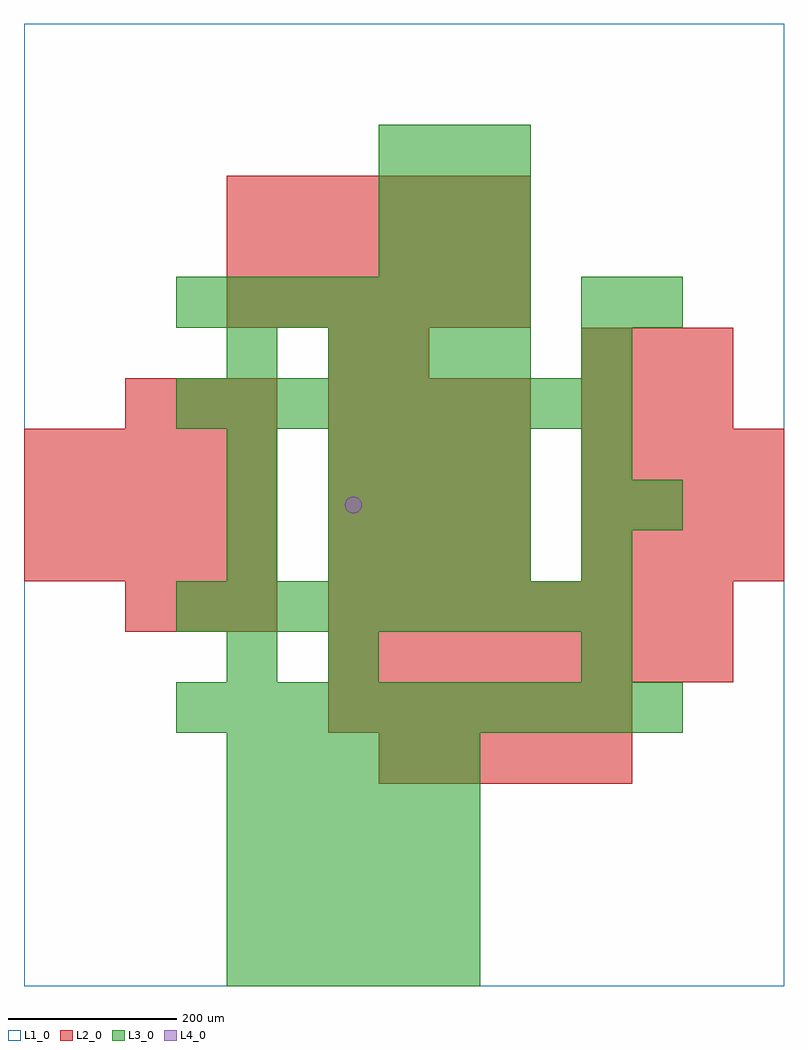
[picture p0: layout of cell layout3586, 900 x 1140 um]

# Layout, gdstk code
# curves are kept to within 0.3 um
import gdstk
lib = gdstk.Library(unit=1e-6, precision=1e-09)
def R(c, l, rs):  # rectangles x0, y0, x1, y1
    for r in rs: c.add(gdstk.rectangle(r[:2], r[2:], *l))
def A(c, l, x, y, w, h, nx, ny, dx, dy):  # array of equal rectangles
    R(c, l, [(x+i*dx, y+j*dy, x+i*dx+w, y+j*dy+h) for i in range(nx) for j in range(ny)])
def P(c, l, *ps):  # polygons
    for p in ps: c.add(gdstk.Polygon(p, *l))
L1_0 = (1, 0)
L2_0 = (2, 0)
L3_0 = (3, 0)
L4_0 = (4, 0)

layout3586 = lib.new_cell('layout3586')
R(layout3586, L1_0, [(0,0,900,1140)])
A(layout3586, L2_0, 420, 240, 60, 60, 5, 1, 60, 0)
A(layout3586, L2_0, 360, 300, 60, 60, 6, 1, 60, 0)
A(layout3586, L2_0, 360, 360, 60, 60, 8, 2, 60, 60)
A(layout3586, L2_0, 120, 420, 60, 60, 3, 2, 60, 240)
A(layout3586, L2_0, 0, 480, 60, 60, 5, 3, 60, 60)
A(layout3586, L2_0, 360, 480, 60, 60, 4, 4, 60, 60)
A(layout3586, L2_0, 660, 480, 60, 60, 4, 3, 60, 60)
A(layout3586, L2_0, 660, 660, 60, 60, 3, 2, 60, 60)
A(layout3586, L2_0, 240, 780, 60, 60, 6, 3, 60, 60)
R(layout3586, L2_0, [(360,720,420,780), (420,720,480,780)])
A(layout3586, L3_0, 240, 0, 60, 60, 5, 5, 60, 60)
A(layout3586, L3_0, 180, 300, 60, 60, 10, 1, 60, 0)
A(layout3586, L3_0, 180, 420, 60, 60, 9, 2, 60, 240)
A(layout3586, L3_0, 240, 480, 60, 60, 1, 3, 0, 60)
A(layout3586, L3_0, 360, 480, 60, 60, 4, 3, 60, 60)
A(layout3586, L3_0, 660, 480, 60, 60, 1, 3, 0, 60)
A(layout3586, L3_0, 360, 720, 60, 60, 4, 1, 60, 0)
A(layout3586, L3_0, 180, 780, 60, 60, 7, 1, 60, 0)
A(layout3586, L3_0, 420, 840, 60, 60, 3, 3, 60, 60)
R(layout3586, L3_0, [(240,360,300,420), (360,360,420,420), (660,360,720,420), (720,540,780,600), (240,720,300,780), (660,720,720,780), (660,780,720,840), (720,780,780,840)])
P(layout3586, L4_0, [(400,570),(399.239,573.827),(397.071,577.071),(393.827,579.239),(390,580),(386.173,579.239),(382.929,577.071),(380.761,573.827),(380,570),(380.761,566.173),(382.929,562.929),(386.173,560.761),(390,560),(393.827,560.761),(397.071,562.929),(399.239,566.173)])

lib.write_gds('layout3586.gds')
